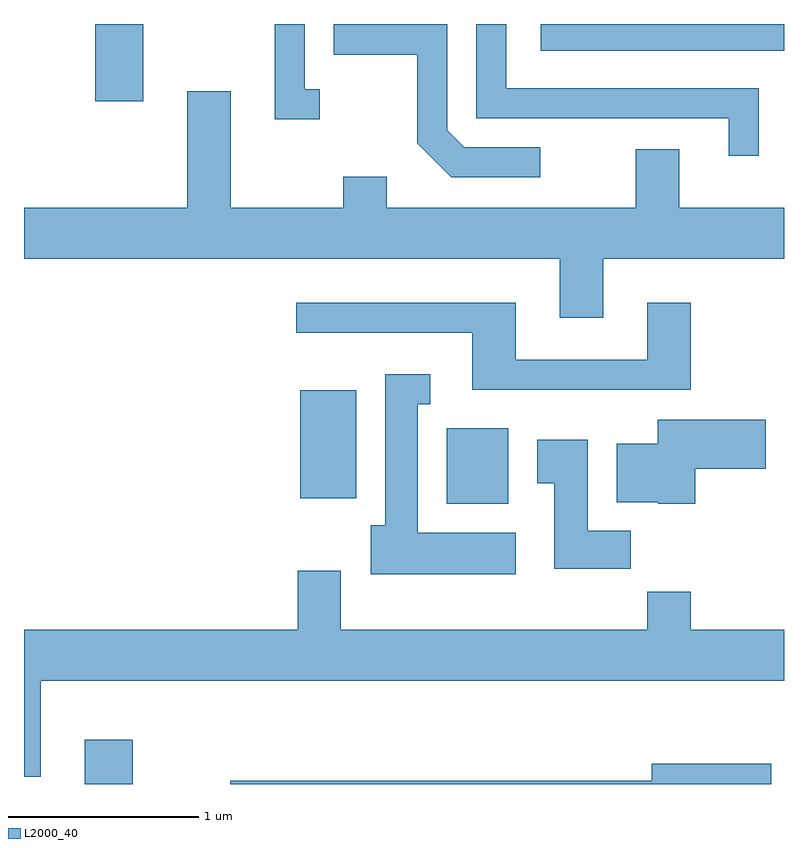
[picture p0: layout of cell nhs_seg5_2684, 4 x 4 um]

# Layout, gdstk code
import gdstk
lib = gdstk.Library(unit=1e-6, precision=1e-09)
def R(c, l, rs):  # rectangles x0, y0, x1, y1
    for r in rs: c.add(gdstk.rectangle(r[:2], r[2:], *l))
def P(c, l, *ps):  # polygons
    for p in ps: c.add(gdstk.Polygon(p, *l))
L2000_40 = (2000, 40)

nhs_seg5_2684 = lib.new_cell('nhs_seg5_2684')
R(nhs_seg5_2684, L2000_40, [(265.931,1414.072,266.184,1414.304), (267.836,1415.546,268.159,1415.944), (267.066,1415.576,267.359,1416.144), (265.986,1417.666,266.239,1418.072), (268.331,1417.931,269.611,1418.072)])
P(nhs_seg5_2684, L2000_40, [(268.328,1417.424),(267.927,1417.424),(267.839,1417.512),(267.839,1418.072),(267.241,1418.072),(267.241,1417.911),(267.681,1417.911),(267.681,1417.444),(267.859,1417.266),(268.328,1417.266)],
  [(269.479,1417.734),(268.149,1417.734),(268.149,1418.072),(267.991,1418.072),(267.991,1417.576),(269.321,1417.576),(269.321,1417.378),(269.479,1417.378)],
  [(267.168,1417.729),(267.089,1417.729),(267.089,1418.072),(266.931,1418.072),(266.931,1417.571),(267.168,1417.571)],
  [(268.659,1416.836),(269.611,1416.836),(269.611,1417.104),(269.059,1417.104),(269.059,1417.414),(268.831,1417.414),(268.831,1417.104),(267.519,1417.104),(267.519,1417.269),(267.291,1417.269),(267.291,1417.104),(266.699,1417.104),(266.699,1417.719),(266.471,1417.719),(266.471,1417.104),(265.611,1417.104),(265.611,1416.836),(268.431,1416.836),(268.431,1416.526),(268.659,1416.526)],
  [(269.119,1416.604),(268.891,1416.604),(268.891,1416.304),(268.199,1416.304),(268.199,1416.604),(267.043,1416.604),(267.043,1416.446),(267.971,1416.446),(267.971,1416.146),(269.119,1416.146)],
  [(268.199,1415.394),(267.684,1415.394),(267.684,1416.071),(267.748,1416.071),(267.748,1416.229),(267.511,1416.229),(267.511,1415.434),(267.436,1415.434),(267.436,1415.176),(268.199,1415.176)],
  [(269.144,1415.731),(269.514,1415.731),(269.514,1415.989),(268.946,1415.989),(268.946,1415.864),(268.731,1415.864),(268.731,1415.556),(268.95,1415.556),(268.95,1415.546),(269.144,1415.546)],
  [(268.804,1415.404),(268.579,1415.404),(268.579,1415.884),(268.311,1415.884),(268.311,1415.656),(268.401,1415.656),(268.401,1415.206),(268.804,1415.206)],
  [(265.699,1414.616),(269.611,1414.616),(269.611,1414.884),(269.119,1414.884),(269.119,1415.084),(268.891,1415.084),(268.891,1414.884),(267.279,1414.884),(267.279,1415.194),(267.051,1415.194),(267.051,1414.884),(265.611,1414.884),(265.611,1414.111),(265.699,1414.111)],
  [(269.544,1414.179),(268.916,1414.179),(268.916,1414.089),(266.696,1414.089),(266.696,1414.072),(269.544,1414.072)])

lib.write_gds('nhs_seg5_2684.gds')
